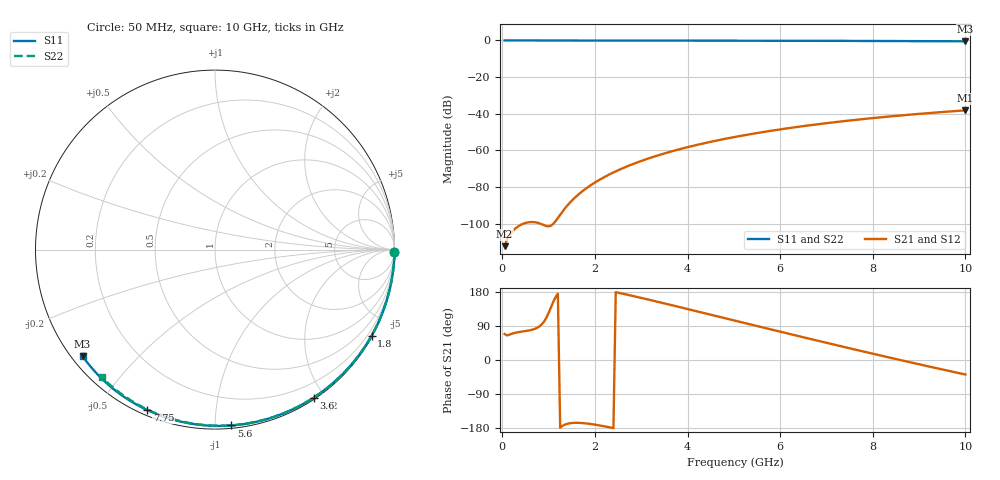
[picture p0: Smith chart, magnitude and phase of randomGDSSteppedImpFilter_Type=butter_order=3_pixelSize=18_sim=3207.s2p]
! freq	dB(S11)	phase(S11)	dB(S12)	phase(S12)
!  dB(S21)	phase(S21)	dB(S22)	phase(S22)
!S-par simulation data
#  GHz  S  DB  R 50
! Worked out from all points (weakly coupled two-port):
!   200 points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, 50 MHz to 10 GHz, reference 50 ohm
!   highest |S21| = -38.12 dB at 10 GHz (marker M1); lowest = -112.2 dB at 50 MHz (marker M2)
!   lowest |S11| = -0.5 dB at 10 GHz (marker M3), VSWR 36.74, Z = 1.53 - j17.6 ohm
!   |S11| at or under -10 dB: nowhere
!   |S22| runs from -0.4 to 0.0 dB; largest |S21 - S12| = 0
!   S11 on the Smith chart (normalised r, x): 50 MHz: open; 1.8 GHz: 0.03, -3.89; 3.6 GHz: 0.02, -1.87; 5.6 GHz: 0.02, -1.10; 7.75 GHz: 0.02, -0.66; 10 GHz: 0.03, -0.35
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0.05  -0.00 -0.8  -112.19 68.6  -112.19 68.6  -0.00 -0.8
0.45  -0.01 -7.3  -99.98 75.5  -99.98 75.5  -0.01 -6.8
0.9  -0.02 -14.6  -100.73 101.1  -100.73 101.1  -0.02 -13.6
1.75  -0.04 -28.1  -81.83 -166.6  -81.83 -166.6  -0.03 -26.2
1.8  -0.04 -28.9  -80.88 -167.2  -80.88 -167.2  -0.03 -27.0
1.85  -0.04 -29.6  -79.97 -168.0  -79.97 -168.0  -0.04 -27.7
2  -0.04 -32.0  -77.48 -170.6  -77.48 -170.6  -0.04 -29.9
2.15  -0.04 -34.3  -75.24 -173.8  -75.24 -173.8  -0.04 -32.1
2.35  -0.05 -37.4  -72.59 -178.5  -72.59 -178.5  -0.04 -35.0
2.55  -0.05 -40.5  -70.23 176.3  -70.23 176.3  -0.05 -37.9
2.95  -0.06 -46.6  -66.18 165.3  -66.18 165.3  -0.06 -43.6
3.4  -0.07 -53.4  -62.38 152.3  -62.38 152.3  -0.07 -49.9
3.6  -0.08 -56.4  -60.89 146.4  -60.89 146.4  -0.07 -52.7
4.3  -0.09 -66.6  -56.39 125.6  -56.39 125.6  -0.09 -62.3
5.05  -0.12 -77.2  -52.49 103.1  -52.49 103.1  -0.11 -72.2
5.6  -0.14 -84.7  -50.08 86.6  -50.08 86.6  -0.13 -79.4
6.15  -0.16 -92.1  -47.95 70.3  -47.95 70.3  -0.15 -86.3
6.7  -0.19 -99.4  -46.05 54.1  -46.05 54.1  -0.18 -93.1
7.75  -0.26 -112.9  -42.98 23.7  -42.98 23.7  -0.24 -105.7
8.35  -0.31 -120.5  -41.48 6.7  -41.48 6.7  -0.29 -112.7
9.2  -0.38 -131.1  -39.63 -16.8  -39.63 -16.8  -0.36 -122.5
10  -0.47 -141.1  -38.12 -38.3  -38.12 -38.3  -0.44 -131.5
